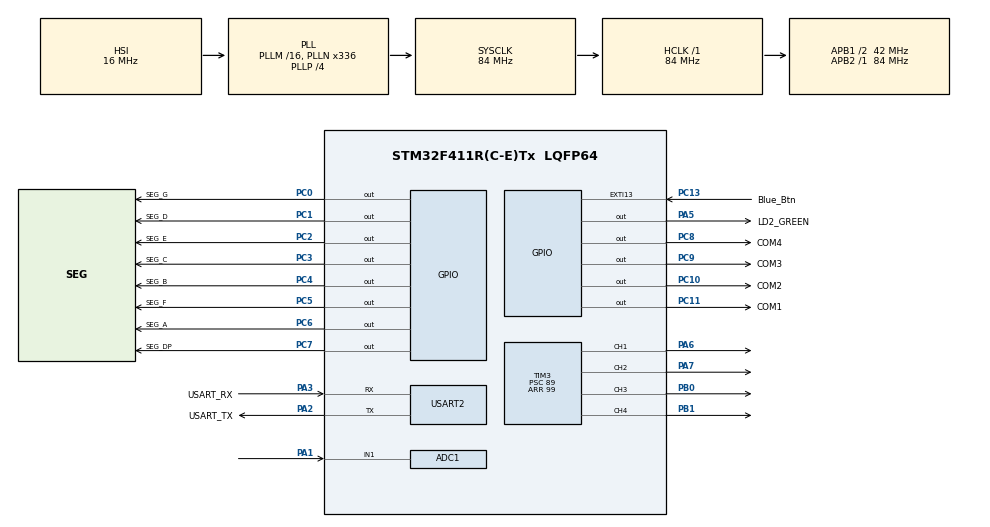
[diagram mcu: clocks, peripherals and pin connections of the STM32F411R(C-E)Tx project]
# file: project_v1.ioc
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ADC1.Channel-3\#ChannelRegularConversion=ADC_CHANNEL_1
ADC1.ContinuousConvMode=ENABLE
ADC1.NbrOfConversionFlag=1
ADC1.Rank-3\#ChannelRegularConversion=1
ADC1.SamplingTime-3\#ChannelRegularConversion=ADC_SAMPLETIME_3CYCLES
ADC1.ScanConvMode=DISABLE
ADC1.master=1
Dma.Request0=USART2_RX
Dma.Request1=USART2_TX
Dma.USART2_RX.0.Direction=DMA_PERIPH_TO_MEMORY
Dma.USART2_RX.0.FIFOMode=DMA_FIFOMODE_DISABLE
Dma.USART2_RX.0.Instance=DMA1_Stream5
Dma.USART2_RX.0.MemDataAlignment=DMA_MDATAALIGN_BYTE
Dma.USART2_RX.0.MemInc=DMA_MINC_ENABLE
Dma.USART2_RX.0.Mode=DMA_NORMAL
Dma.USART2_RX.0.PeriphDataAlignment=DMA_PDATAALIGN_BYTE
Dma.USART2_RX.0.PeriphInc=DMA_PINC_DISABLE
Dma.USART2_RX.0.Priority=DMA_PRIORITY_LOW
Dma.USART2_TX.1.Direction=DMA_MEMORY_TO_PERIPH
Dma.USART2_TX.1.FIFOMode=DMA_FIFOMODE_DISABLE
Dma.USART2_TX.1.Instance=DMA1_Stream6
Dma.USART2_TX.1.MemDataAlignment=DMA_MDATAALIGN_BYTE
Dma.USART2_TX.1.MemInc=DMA_MINC_ENABLE
Dma.USART2_TX.1.Mode=DMA_NORMAL
Dma.USART2_TX.1.PeriphDataAlignment=DMA_PDATAALIGN_BYTE
Dma.USART2_TX.1.PeriphInc=DMA_PINC_DISABLE
Dma.USART2_TX.1.Priority=DMA_PRIORITY_LOW
Mcu.Family=STM32F4
Mcu.Name=STM32F411R(C-E)Tx
Mcu.Package=LQFP64
NVIC.ADC_IRQn=true\:0\:0\:false\:false\:true\:true\:true
NVIC.DMA1_Stream5_IRQn=true\:0\:0\:false\:false\:true\:false\:true
NVIC.DMA1_Stream6_IRQn=true\:0\:0\:false\:false\:true\:false\:true
NVIC.EXTI15_10_IRQn=true\:0\:0\:false\:false\:true\:true\:true
NVIC.PriorityGroup=NVIC_PRIORITYGROUP_0
NVIC.TIM1_BRK_TIM9_IRQn=true\:0\:0\:false\:false\:true\:true\:true
NVIC.USART2_IRQn=true\:0\:0\:false\:false\:true\:true\:true
PA1.Signal=ADCx_IN1
PA13.GPIO_Label=TMS
PA13.Mode=Serial_Wire
PA13.Signal=SYS_JTMS-SWDIO
PA14.GPIO_Label=TCK
PA14.Mode=Serial_Wire
PA14.Signal=SYS_JTCK-SWCLK
PA2.GPIO_Label=USART_TX
PA2.Mode=Asynchronous
PA2.Signal=USART2_TX
PA3.GPIO_Label=USART_RX
PA3.Mode=Asynchronous
PA3.Signal=USART2_RX
PA5.GPIO_Label=LD2_GREEN
PA5.Signal=GPIO_Output
PA6.Signal=S_TIM3_CH1
PA7.Signal=S_TIM3_CH2
PB0.Signal=S_TIM3_CH3
PB1.Signal=S_TIM3_CH4
PB3.GPIO_Label=SWO
PB3.Signal=SYS_JTDO-SWO
PC0.GPIO_Label=SEG_G
PC0.Signal=GPIO_Output
PC1.GPIO_Label=SEG_D
PC1.Signal=GPIO_Output
PC10.GPIO_Label=COM2
PC10.Signal=GPIO_Output
PC11.GPIO_Label=COM1
PC11.Signal=GPIO_Output
PC13-ANTI_TAMP.GPIO_Label=Blue_Btn
PC13-ANTI_TAMP.GPIO_ModeDefaultEXTI=GPIO_MODE_IT_FALLING
PC13-ANTI_TAMP.Signal=GPXTI13
PC14-OSC32_IN.Mode=LSE-External-Oscillator
PC14-OSC32_IN.Signal=RCC_OSC32_IN
PC15-OSC32_OUT.Mode=LSE-External-Oscillator
PC15-OSC32_OUT.Signal=RCC_OSC32_OUT
PC2.GPIO_Label=SEG_E
PC2.Signal=GPIO_Output
PC3.GPIO_Label=SEG_C
PC3.Signal=GPIO_Output
PC4.GPIO_Label=SEG_B
PC4.Signal=GPIO_Output
PC5.GPIO_Label=SEG_F
PC5.Signal=GPIO_Output
PC6.GPIO_Label=SEG_A
PC6.Signal=GPIO_Output
PC7.GPIO_Label=SEG_DP
PC7.Signal=GPIO_Output
PC8.GPIO_Label=COM4
PC8.Signal=GPIO_Output
PC9.GPIO_Label=COM3
PC9.Signal=GPIO_Output
PH0\ -\ OSC_IN.Mode=HSE-External-Clock-Source
PH0\ -\ OSC_IN.Signal=RCC_OSC_IN
PH1\ -\ OSC_OUT.Mode=HSE-External-Clock-Source
PH1\ -\ OSC_OUT.Signal=RCC_OSC_OUT
ProjectManager.HeapSize=0x200
ProjectManager.StackSize=0x400
ProjectManager.TargetToolchain=STM32CubeIDE
RCC.48MHZClocksFreq_Value=84000000
RCC.AHBFreq_Value=84000000
RCC.APB1CLKDivider=RCC_HCLK_DIV2
RCC.APB1Freq_Value=42000000
RCC.APB1TimFreq_Value=84000000
RCC.APB2Freq_Value=84000000
RCC.APB2TimFreq_Value=84000000
RCC.CortexFreq_Value=84000000
RCC.FLatency-AdvancedSettings=FLASH_LATENCY_2
RCC.HCLKFreq_Value=84000000
RCC.HSE_VALUE=8000000
RCC.HSI_VALUE=16000000
RCC.PLLN=336
RCC.PLLP=RCC_PLLP_DIV4
RCC.SYSCLKFreq_VALUE=84000000
RCC.SYSCLKSource=RCC_SYSCLKSOURCE_PLLCLK
RCC.VCOOutputFreq_Value=336000000
SH.ADCx_IN1.0=ADC1_IN1,IN1
SH.S_TIM3_CH1.0=TIM3_CH1,PWM Generation1 CH1
SH.S_TIM3_CH2.0=TIM3_CH2,PWM Generation2 CH2
SH.S_TIM3_CH3.0=TIM3_CH3,PWM Generation3 CH3
SH.S_TIM3_CH4.0=TIM3_CH4,PWM Generation4 CH4
TIM3.Channel-PWM\ Generation1\ CH1=TIM_CHANNEL_1
TIM3.Channel-PWM\ Generation2\ CH2=TIM_CHANNEL_2
TIM3.Channel-PWM\ Generation3\ CH3=TIM_CHANNEL_3
TIM3.Channel-PWM\ Generation4\ CH4=TIM_CHANNEL_4
TIM3.Period=99
TIM3.Prescaler=89
TIM9.Period=99
TIM9.Prescaler=999
USART2.VirtualMode=VM_ASYNC
VP_TIM9_VS_ClockSourceINT.Mode=Internal
board=NUCLEO-F411RE

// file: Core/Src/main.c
/* USER CODE BEGIN Header */
/**
  ******************************************************************************
  * @file           : main.c
  * @brief          : Main program body
  ******************************************************************************
  * @attention
  *
  * <h2><center>&copy; Copyright (c) 2020 STMicroelectronics.
  * All rights reserved.</center></h2>
  *
  * This software component is licensed by ST under BSD 3-Clause license,
  * the "License"; You may not use this file except in compliance with the
  * License. You may obtain a copy of the License at:
  *                        opensource.org/licenses/BSD-3-Clause
  *
  ******************************************************************************
  */
/* USER CODE END Header */

#include "main.h"

/* USER CODE BEGIN Includes */
#include "stm32f4xx_hal.h"

/* USER CODE END Includes */

ADC_HandleTypeDef hadc1;

TIM_HandleTypeDef htim3;
TIM_HandleTypeDef htim9;

UART_HandleTypeDef huart2;
DMA_HandleTypeDef hdma_usart2_rx;
DMA_HandleTypeDef hdma_usart2_tx;

/* USER CODE BEGIN PV */
volatile static int state = 0;
volatile static int display_light_val = 0;

volatile static uint32_t light_val;
//volatile static uint32_t light_prc;
volatile static uint32_t inv_light_prc;

volatile uint16_t digit1;
volatile uint16_t digit2;
volatile uint16_t digit3;
volatile uint16_t digit4;

volatile uint16_t Received_first = 0;
volatile uint16_t Received_second = 0;

volatile uint16_t first_number = 0;
volatile uint16_t second_number = 0;
volatile uint16_t result = 0;

volatile uint8_t cnt_btn = 0;
volatile uint8_t operation = 0;
volatile uint8_t operation_UART;

/* USER CODE END PV */

void SystemClock_Config(void);
static void MX_GPIO_Init(void);
static void MX_DMA_Init(void);
static void MX_USART2_UART_Init(void);
static void MX_ADC1_Init(void);
static void MX_TIM9_Init(void);
static void MX_TIM3_Init(void);
/* USER CODE BEGIN PFP */

void dec_to_7seg(uint8_t number) //transforming digits to appropriate display led pins
{
	switch (number)
	{
		case 0:
			HAL_GPIO_WritePin(SEG_A_GPIO_Port, SEG_A_Pin, GPIO_PIN_SET);
			HAL_GPIO_WritePin(SEG_B_GPIO_Port, SEG_B_Pin, GPIO_PIN_SET);
			HAL_GPIO_WritePin(SEG_C_GPIO_Port, SEG_C_Pin, GPIO_PIN_SET);
			HAL_GPIO_WritePin(SEG_D_GPIO_Port, SEG_D_Pin, GPIO_PIN_SET);
			HAL_GPIO_WritePin(SEG_E_GPIO_Port, SEG_E_Pin, GPIO_PIN_SET);
			HAL_GPIO_WritePin(SEG_F_GPIO_Port, SEG_F_Pin, GPIO_PIN_SET);
			HAL_GPIO_WritePin(SEG_G_GPIO_Port, SEG_G_Pin, GPIO_PIN_RESET);
			break;
		case 1:
			HAL_GPIO_WritePin(SEG_A_GPIO_Port, SEG_A_Pin, GPIO_PIN_RESET);
			HAL_GPIO_WritePin(SEG_B_GPIO_Port, SEG_B_Pin, GPIO_PIN_SET);
			HAL_GPIO_WritePin(SEG_C_GPIO_Port, SEG_C_Pin, GPIO_PIN_SET);
			HAL_GPIO_WritePin(SEG_D_GPIO_Port, SEG_D_Pin, GPIO_PIN_RESET);
			HAL_GPIO_WritePin(SEG_E_GPIO_Port, SEG_E_Pin, GPIO_PIN_RESET);
			HAL_GPIO_WritePin(SEG_F_GPIO_Port, SEG_F_Pin, GPIO_PIN_RESET);
			HAL_GPIO_WritePin(SEG_G_GPIO_Port, SEG_G_Pin, GPIO_PIN_RESET);
			break;
		case 2:
			HAL_GPIO_WritePin(SEG_A_GPIO_Port, SEG_A_Pin, GPIO_PIN_SET);
			HAL_GPIO_WritePin(SEG_B_GPIO_Port, SEG_B_Pin, GPIO_PIN_SET);
			HAL_GPIO_WritePin(SEG_C_GPIO_Port, SEG_C_Pin, GPIO_PIN_RESET);
			HAL_GPIO_WritePin(SEG_D_GPIO_Port, SEG_D_Pin, GPIO_PIN_SET);
			HAL_GPIO_WritePin(SEG_E_GPIO_Port, SEG_E_Pin, GPIO_PIN_SET);
			HAL_GPIO_WritePin(SEG_F_GPIO_Port, SEG_F_Pin, GPIO_PIN_RESET);
			HAL_GPIO_WritePin(SEG_G_GPIO_Port, SEG_G_Pin, GPIO_PIN_SET);
			break;
		case 3:
			HAL_GPIO_WritePin(SEG_A_GPIO_Port, SEG_A_Pin, GPIO_PIN_SET);
			HAL_GPIO_WritePin(SEG_B_GPIO_Port, SEG_B_Pin, GPIO_PIN_SET);
			HAL_GPIO_WritePin(SEG_C_GPIO_Port, SEG_C_Pin, GPIO_PIN_SET);
			HAL_GPIO_WritePin(SEG_D_GPIO_Port, SEG_D_Pin, GPIO_PIN_SET);
			HAL_GPIO_WritePin(SEG_E_GPIO_Port, SEG_E_Pin, GPIO_PIN_RESET);
			HAL_GPIO_WritePin(SEG_F_GPIO_Port, SEG_F_Pin, GPIO_PIN_RESET);
			HAL_GPIO_WritePin(SEG_G_GPIO_Port, SEG_G_Pin, GPIO_PIN_SET);
			break;
		case 4:
			HAL_GPIO_WritePin(SEG_A_GPIO_Port, SEG_A_Pin, GPIO_PIN_RESET);
			HAL_GPIO_WritePin(SEG_B_GPIO_Port, SEG_B_Pin, GPIO_PIN_SET);
			HAL_GPIO_WritePin(SEG_C_GPIO_Port, SEG_C_Pin, GPIO_PIN_SET);
			HAL_GPIO_WritePin(SEG_D_GPIO_Port, SEG_D_Pin, GPIO_PIN_RESET);
			HAL_GPIO_WritePin(SEG_E_GPIO_Port, SEG_E_Pin, GPIO_PIN_RESET);
			HAL_GPIO_WritePin(SEG_F_GPIO_Port, SEG_F_Pin, GPIO_PIN_SET);
			HAL_GPIO_WritePin(SEG_G_GPIO_Port, SEG_G_Pin, GPIO_PIN_SET);
			break;
		case 5:
			HAL_GPIO_WritePin(SEG_A_GPIO_Port, SEG_A_Pin, GPIO_PIN_SET);
			HAL_GPIO_WritePin(SEG_B_GPIO_Port, SEG_B_Pin, GPIO_PIN_RESET);
			HAL_GPIO_WritePin(SEG_C_GPIO_Port, SEG_C_Pin, GPIO_PIN_SET);
			HAL_GPIO_WritePin(SEG_D_GPIO_Port, SEG_D_Pin, GPIO_PIN_SET);
			HAL_GPIO_WritePin(SEG_E_GPIO_Port, SEG_E_Pin, GPIO_PIN_RESET);
			HAL_GPIO_WritePin(SEG_F_GPIO_Port, SEG_F_Pin, GPIO_PIN_SET);
			HAL_GPIO_WritePin(SEG_G_GPIO_Port, SEG_G_Pin, GPIO_PIN_SET);
			break;
		case 6:
			HAL_GPIO_WritePin(SEG_A_GPIO_Port, SEG_A_Pin, GPIO_PIN_SET);
			HAL_GPIO_WritePin(SEG_B_GPIO_Port, SEG_B_Pin, GPIO_PIN_RESET);
			HAL_GPIO_WritePin(SEG_C_GPIO_Port, SEG_C_Pin, GPIO_PIN_SET);
			HAL_GPIO_WritePin(SEG_D_GPIO_Port, SEG_D_Pin, GPIO_PIN_SET);
			HAL_GPIO_WritePin(SEG_E_GPIO_Port, SEG_E_Pin, GPIO_PIN_SET);
			HAL_GPIO_WritePin(SEG_F_GPIO_Port, SEG_F_Pin, GPIO_PIN_SET);
			HAL_GPIO_WritePin(SEG_G_GPIO_Port, SEG_G_Pin, GPIO_PIN_SET);
			break;
		case 7:
			HAL_GPIO_WritePin(SEG_A_GPIO_Port, SEG_A_Pin, GPIO_PIN_SET);
			HAL_GPIO_WritePin(SEG_B_GPIO_Port, SEG_B_Pin, GPIO_PIN_SET);
			HAL_GPIO_WritePin(SEG_C_GPIO_Port, SEG_C_Pin, GPIO_PIN_SET);
			HAL_GPIO_WritePin(SEG_D_GPIO_Port, SEG_D_Pin, GPIO_PIN_RESET);
			HAL_GPIO_WritePin(SEG_E_GPIO_Port, SEG_E_Pin, GPIO_PIN_RESET);
			HAL_GPIO_WritePin(SEG_F_GPIO_Port, SEG_F_Pin, GPIO_PIN_RESET);
			HAL_GPIO_WritePin(SEG_G_GPIO_Port, SEG_G_Pin, GPIO_PIN_RESET);
			break;
		case 8:
			HAL_GPIO_WritePin(SEG_A_GPIO_Port, SEG_A_Pin, GPIO_PIN_SET);
			HAL_GPIO_WritePin(SEG_B_GPIO_Port, SEG_B_Pin, GPIO_PIN_SET);
			HAL_GPIO_WritePin(SEG_C_GPIO_Port, SEG_C_Pin, GPIO_PIN_SET);
			HAL_GPIO_WritePin(SEG_D_GPIO_Port, SEG_D_Pin, GPIO_PIN_SET);
			HAL_GPIO_WritePin(SEG_E_GPIO_Port, SEG_E_Pin, GPIO_PIN_SET);
			HAL_GPIO_WritePin(SEG_F_GPIO_Port, SEG_F_Pin, GPIO_PIN_SET);
			HAL_GPIO_WritePin(SEG_G_GPIO_Port, SEG_G_Pin, GPIO_PIN_SET);
			break;
		case 9:
			HAL_GPIO_WritePin(SEG_A_GPIO_Port, SEG_A_Pin, GPIO_PIN_SET);
			HAL_GPIO_WritePin(SEG_B_GPIO_Port, SEG_B_Pin, GPIO_PIN_SET);
			HAL_GPIO_WritePin(SEG_C_GPIO_Port, SEG_C_Pin, GPIO_PIN_SET);
			HAL_GPIO_WritePin(SEG_D_GPIO_Port, SEG_D_Pin, GPIO_PIN_SET);
			HAL_GPIO_WritePin(SEG_E_GPIO_Port, SEG_E_Pin, GPIO_PIN_RESET);
			HAL_GPIO_WritePin(SEG_F_GPIO_Port, SEG_F_Pin, GPIO_PIN_SET);
			HAL_GPIO_WritePin(SEG_G_GPIO_Port, SEG_G_Pin, GPIO_PIN_SET);
			break;
	}
}

void HAL_ADC_ConvCpltCallback(ADC_HandleTypeDef* hadc) { //interrupts from adc - light sensor
	light_val = HAL_ADC_GetValue(&hadc1); //saving value from adc
}

void number_to_digits(uint32_t number) { //dividing number to digits and storing them in new variables
	uint16_t temp1, temp2, temp3, temp4;

	temp1=number/1000;
	if(temp1) digit1=temp1; else digit1=0;
	temp2=(number-(temp1*1000))/100;
	if(temp2) digit2=temp2; else digit2=(number>999)?0:0;
	temp3=(number-(temp1*1000)-(temp2*100))/10;
	if(temp3) digit3=temp3; else digit3=(number>99)?0:0;
	temp4=(number-(temp1*1000)-(temp2*100)-(temp3*10));
	digit4=temp4;
}

void pwm_disp_select(uint8_t display) //pwm display select with duty cycle depending on light sensor
{
	switch (display)
	{
		case 1:
			htim3.Instance->CCR1 = inv_light_prc;
			htim3.Instance->CCR2 = 100;
			htim3.Instance->CCR3 = 100;
			htim3.Instance->CCR4 = 100;
			break;
		case 2:
			htim3.Instance->CCR1 = 100;
			htim3.Instance->CCR2 = inv_light_prc;
			htim3.Instance->CCR3 = 100;
			htim3.Instance->CCR4 = 100;
			break;
		case 3:
			htim3.Instance->CCR1 = 100;
			htim3.Instance->CCR2 = 100;
			htim3.Instance->CCR3 = inv_light_prc;
			htim3.Instance->CCR4 = 100;
			break;
		case 4:
			htim3.Instance->CCR1 = 100;
			htim3.Instance->CCR2 = 100;
			htim3.Instance->CCR3 = 100;
			htim3.Instance->CCR4 = inv_light_prc;
			break;
	}
}

void pwm_display_multiplekser() { //multiplexer for displaying digits with use of pwm display choose
	static uint8_t display = 1;
		switch (display) {
			case 1:
				pwm_disp_select(1);
				dec_to_7seg(digit1);
				break;
			case 2:
				pwm_disp_select(2);
				dec_to_7seg(digit2);
				break;
			case 3:
				pwm_disp_select(3);
				dec_to_7seg(digit3);
				break;
			case 4:
				pwm_disp_select(4);
				dec_to_7seg(digit4);
				break;
			default:
				break;
		}
		display++;
		if(display==5) display = 1;
}

void HAL_TIM_PeriodElapsedCallback(TIM_HandleTypeDef *htim){ //interrupts from timer
	if(htim->Instance == TIM9){ //from timer 9
		pwm_display_multiplekser(); //displaying digits with multiplexer and pwm
		inv_light_val_to_prc(light_val); //light value to percents used in duty cycle in pwm
	}
}
/*
void light_val_to_prc(uint32_t value) { //can be used to display brightness in percents
	light_prc=100-(value*100/3850);
}
*/
void inv_light_val_to_prc(uint32_t value) {
	inv_light_prc=value*100/3850; //3850 because I couldn't find range of light sensor and this value seams to be quite good estimate
}

void HAL_UART_RxCpltCallback(UART_HandleTypeDef *huart) {

	 static uint8_t Data[15];

	if (Received_first > 0) {
		first_number = Received_first; //saving to new variable
		Received_first = 0; //reset of variable used in listening UART
		cnt_btn = 0; //reset of counter used to choose operation type so after receiving first number we are certain that there is nothing in this counter
		HAL_UART_Receive_DMA(&huart2, &Received_second, 1); // Listening with second variable with use of DMA
	}
	if (Received_second > 0) {
		second_number = Received_second;
		Received_second = 0;
		HAL_UART_Receive_DMA(&huart2, &Received_first, 1); // Listening with first variable again with use of DMA
		calculate();

		sprintf(Data, "\n%d %c %d = %d\n", first_number, operation_UART, second_number, result); //constructing message to send via UART
		HAL_UART_Transmit_DMA(&huart2, Data, 15); // sending message via UART

	}
	HAL_GPIO_TogglePin(LD2_GREEN_GPIO_Port, LD2_GREEN_Pin); //led to observe if interrupt happened
}

void calculate() { //calculating result
	switch (operation) {
		case 1:
			result = first_number + second_number;
			operation = 0;
			operation_UART = '+';
			break;
		case 2:
			result = first_number - second_number;
			operation = 0;
			operation_UART = '-';
			break;
		case 3:
			result = first_number * second_number;
			operation = 0;
			operation_UART = '*';
			break;
		case 4:
			result = first_number / second_number;
			operation = 0;
			operation_UART = '/';
			break;
		default:
			result = 9999;
			break;
	}
}

void HAL_GPIO_EXTI_Callback(uint16_t GPIO_Pin){ //interrupt from button and choose of operation type
	if(GPIO_Pin == Blue_Btn_Pin){
		cnt_btn++;
		switch (cnt_btn) {
			case 1:
				operation = 1;
				break;
			case 2:
				operation = 2;
				break;
			case 3:
				operation = 3;
				break;
			case 4:
				operation = 4;
				break;
			default:
				operation = 0;
				break;
		}
		HAL_GPIO_TogglePin(LD2_GREEN_GPIO_Port, LD2_GREEN_Pin); //led to observe interrupts from button
	}
}

/* USER CODE END PFP */

int main(void)
{

  /* MCU Configuration--------------------------------------------------------*/

  /* Reset of all peripherals, Initializes the Flash interface and the Systick. */
  HAL_Init();

  /* Configure the system clock */
  SystemClock_Config();

  /* Initialize all configured peripherals */
  MX_GPIO_Init();
  MX_DMA_Init();
  MX_USART2_UART_Init();
  MX_ADC1_Init();
  MX_TIM9_Init();
  MX_TIM3_Init();
  /* USER CODE BEGIN 2 */

  HAL_TIM_Base_Start_IT(&htim9);
  HAL_UART_Receive_DMA(&huart2, &Received_first, 1); //UART with DMA

  HAL_TIM_PWM_Start(&htim3, TIM_CHANNEL_1);
  HAL_TIM_PWM_Start(&htim3, TIM_CHANNEL_2);
  HAL_TIM_PWM_Start(&htim3, TIM_CHANNEL_3);
  HAL_TIM_PWM_Start(&htim3, TIM_CHANNEL_4);
  /* USER CODE END 2 */

  /* Infinite loop */
  while (1)
  {

    /* USER CODE BEGIN 3 */

	  HAL_ADC_Start_IT(&hadc1); // start interrupts from light sensor
	  number_to_digits(result); //division of number to digits for multiplexing

	  //number_to_digits(light_prc);

  }
  /* USER CODE END 3 */
}

void SystemClock_Config(void)
{
  RCC_OscInitTypeDef RCC_OscInitStruct = {0};
  RCC_ClkInitTypeDef RCC_ClkInitStruct = {0};

  /** Configure the main internal regulator output voltage
  */
  __HAL_RCC_PWR_CLK_ENABLE();
  __HAL_PWR_VOLTAGESCALING_CONFIG(PWR_REGULATOR_VOLTAGE_SCALE1);
  /** Initializes the CPU, AHB and APB busses clocks
  */
  RCC_OscInitStruct.OscillatorType = RCC_OSCILLATORTYPE_HSI;
  RCC_OscInitStruct.HSIState = RCC_HSI_ON;
  RCC_OscInitStruct.HSICalibrationValue = RCC_HSICALIBRATION_DEFAULT;
  RCC_OscInitStruct.PLL.PLLState = RCC_PLL_ON;
  RCC_OscInitStruct.PLL.PLLSource = RCC_PLLSOURCE_HSI;
  RCC_OscInitStruct.PLL.PLLM = 16;
  RCC_OscInitStruct.PLL.PLLN = 336;
  RCC_OscInitStruct.PLL.PLLP = RCC_PLLP_DIV4;
  RCC_OscInitStruct.PLL.PLLQ = 4;
  if (HAL_RCC_OscConfig(&RCC_OscInitStruct) != HAL_OK)
  {
    Error_Handler();
  }
  /** Initializes the CPU, AHB and APB busses clocks
  */
  RCC_ClkInitStruct.ClockType = RCC_CLOCKTYPE_HCLK|RCC_CLOCKTYPE_SYSCLK
                              |RCC_CLOCKTYPE_PCLK1|RCC_CLOCKTYPE_PCLK2;
  RCC_ClkInitStruct.SYSCLKSource = RCC_SYSCLKSOURCE_PLLCLK;
  RCC_ClkInitStruct.AHBCLKDivider = RCC_SYSCLK_DIV1;
  RCC_ClkInitStruct.APB1CLKDivider = RCC_HCLK_DIV2;
  RCC_ClkInitStruct.APB2CLKDivider = RCC_HCLK_DIV1;

  if (HAL_RCC_ClockConfig(&RCC_ClkInitStruct, FLASH_LATENCY_2) != HAL_OK)
  {
    Error_Handler();
  }
}

static void MX_ADC1_Init(void)
{

  ADC_ChannelConfTypeDef sConfig = {0};

  /** Configure the global features of the ADC (Clock, Resolution, Data Alignment and number of conversion)
  */
  hadc1.Instance = ADC1;
  hadc1.Init.ClockPrescaler = ADC_CLOCK_SYNC_PCLK_DIV4;
  hadc1.Init.Resolution = ADC_RESOLUTION_12B;
  hadc1.Init.ScanConvMode = DISABLE;
  hadc1.Init.ContinuousConvMode = ENABLE;
  hadc1.Init.DiscontinuousConvMode = DISABLE;
  hadc1.Init.ExternalTrigConvEdge = ADC_EXTERNALTRIGCONVEDGE_NONE;
  hadc1.Init.ExternalTrigConv = ADC_SOFTWARE_START;
  hadc1.Init.DataAlign = ADC_DATAALIGN_RIGHT;
  hadc1.Init.NbrOfConversion = 1;
  hadc1.Init.DMAContinuousRequests = DISABLE;
  hadc1.Init.EOCSelection = ADC_EOC_SINGLE_CONV;
  if (HAL_ADC_Init(&hadc1) != HAL_OK)
  {
    Error_Handler();
  }
  /** Configure for the selected ADC regular channel its corresponding rank in the sequencer and its sample time.
  */
  sConfig.Channel = ADC_CHANNEL_1;
  sConfig.Rank = 1;
  sConfig.SamplingTime = ADC_SAMPLETIME_3CYCLES;
  if (HAL_ADC_ConfigChannel(&hadc1, &sConfig) != HAL_OK)
  {
    Error_Handler();
  }

}

static void MX_TIM3_Init(void)
{

  TIM_MasterConfigTypeDef sMasterConfig = {0};
  TIM_OC_InitTypeDef sConfigOC = {0};

  htim3.Instance = TIM3;
  htim3.Init.Prescaler = 89;
  htim3.Init.CounterMode = TIM_COUNTERMODE_UP;
  htim3.Init.Period = 99;
  htim3.Init.ClockDivision = TIM_CLOCKDIVISION_DIV1;
  htim3.Init.AutoReloadPreload = TIM_AUTORELOAD_PRELOAD_DISABLE;
  if (HAL_TIM_PWM_Init(&htim3) != HAL_OK)
  {
    Error_Handler();
  }
  sMasterConfig.MasterOutputTrigger = TIM_TRGO_RESET;
  sMasterConfig.MasterSlaveMode = TIM_MASTERSLAVEMODE_DISABLE;
  if (HAL_TIMEx_MasterConfigSynchronization(&htim3, &sMasterConfig) != HAL_OK)
  {
    Error_Handler();
  }
  sConfigOC.OCMode = TIM_OCMODE_PWM1;
  sConfigOC.Pulse = 0;
  sConfigOC.OCPolarity = TIM_OCPOLARITY_HIGH;
  sConfigOC.OCFastMode = TIM_OCFAST_DISABLE;
  if (HAL_TIM_PWM_ConfigChannel(&htim3, &sConfigOC, TIM_CHANNEL_1) != HAL_OK)
  {
    Error_Handler();
  }
  if (HAL_TIM_PWM_ConfigChannel(&htim3, &sConfigOC, TIM_CHANNEL_2) != HAL_OK)
  {
    Error_Handler();
  }
  if (HAL_TIM_PWM_ConfigChannel(&htim3, &sConfigOC, TIM_CHANNEL_3) != HAL_OK)
  {
    Error_Handler();
  }
  if (HAL_TIM_PWM_ConfigChannel(&htim3, &sConfigOC, TIM_CHANNEL_4) != HAL_OK)
  {
    Error_Handler();
  }
  HAL_TIM_MspPostInit(&htim3);

}

static void MX_TIM9_Init(void)
{

  TIM_ClockConfigTypeDef sClockSourceConfig = {0};

  htim9.Instance = TIM9;
  htim9.Init.Prescaler = 999;
  htim9.Init.CounterMode = TIM_COUNTERMODE_UP;
  htim9.Init.Period = 99;
  htim9.Init.ClockDivision = TIM_CLOCKDIVISION_DIV1;
  htim9.Init.AutoReloadPreload = TIM_AUTORELOAD_PRELOAD_DISABLE;
  if (HAL_TIM_Base_Init(&htim9) != HAL_OK)
  {
    Error_Handler();
  }
  sClockSourceConfig.ClockSource = TIM_CLOCKSOURCE_INTERNAL;
  if (HAL_TIM_ConfigClockSource(&htim9, &sClockSourceConfig) != HAL_OK)
  {
    Error_Handler();
  }

}

static void MX_USART2_UART_Init(void)
{

  huart2.Instance = USART2;
  huart2.Init.BaudRate = 115200;
  huart2.Init.WordLength = UART_WORDLENGTH_8B;
  huart2.Init.StopBits = UART_STOPBITS_1;
  huart2.Init.Parity = UART_PARITY_NONE;
  huart2.Init.Mode = UART_MODE_TX_RX;
  huart2.Init.HwFlowCtl = UART_HWCONTROL_NONE;
  huart2.Init.OverSampling = UART_OVERSAMPLING_16;
  if (HAL_UART_Init(&huart2) != HAL_OK)
  {
    Error_Handler();
  }

}

static void MX_DMA_Init(void)
{

  /* DMA controller clock enable */
  __HAL_RCC_DMA1_CLK_ENABLE();

  /* DMA interrupt init */
  /* DMA1_Stream5_IRQn interrupt configuration */
  HAL_NVIC_SetPriority(DMA1_Stream5_IRQn, 0, 0);
  HAL_NVIC_EnableIRQ(DMA1_Stream5_IRQn);
  /* DMA1_Stream6_IRQn interrupt configuration */
  HAL_NVIC_SetPriority(DMA1_Stream6_IRQn, 0, 0);
  HAL_NVIC_EnableIRQ(DMA1_Stream6_IRQn);

}

static void MX_GPIO_Init(void)
{
  GPIO_InitTypeDef GPIO_InitStruct = {0};

  /* GPIO Ports Clock Enable */
  __HAL_RCC_GPIOC_CLK_ENABLE();
  __HAL_RCC_GPIOH_CLK_ENABLE();
  __HAL_RCC_GPIOA_CLK_ENABLE();
  __HAL_RCC_GPIOB_CLK_ENABLE();

  /*Configure GPIO pin Output Level */
  HAL_GPIO_WritePin(GPIOC, SEG_G_Pin|SEG_D_Pin|SEG_E_Pin|SEG_C_Pin
                          |SEG_B_Pin|SEG_F_Pin|SEG_A_Pin|SEG_DP_Pin
                          |COM4_Pin|COM3_Pin|COM2_Pin|COM1_Pin, GPIO_PIN_RESET);

  /*Configure GPIO pin Output Level */
  HAL_GPIO_WritePin(LD2_GREEN_GPIO_Port, LD2_GREEN_Pin, GPIO_PIN_RESET);

  /*Configure GPIO pin : Blue_Btn_Pin */
  GPIO_InitStruct.Pin = Blue_Btn_Pin;
  GPIO_InitStruct.Mode = GPIO_MODE_IT_FALLING;
  GPIO_InitStruct.Pull = GPIO_NOPULL;
  HAL_GPIO_Init(Blue_Btn_GPIO_Port, &GPIO_InitStruct);

  /*Configure GPIO pins : SEG_G_Pin SEG_D_Pin SEG_E_Pin SEG_C_Pin
                           SEG_B_Pin SEG_F_Pin SEG_A_Pin SEG_DP_Pin
                           COM4_Pin COM3_Pin COM2_Pin COM1_Pin */
  GPIO_InitStruct.Pin = SEG_G_Pin|SEG_D_Pin|SEG_E_Pin|SEG_C_Pin
                          |SEG_B_Pin|SEG_F_Pin|SEG_A_Pin|SEG_DP_Pin
                          |COM4_Pin|COM3_Pin|COM2_Pin|COM1_Pin;
  GPIO_InitStruct.Mode = GPIO_MODE_OUTPUT_PP;
  GPIO_InitStruct.Pull = GPIO_NOPULL;
  GPIO_InitStruct.Speed = GPIO_SPEED_FREQ_LOW;
  HAL_GPIO_Init(GPIOC, &GPIO_InitStruct);

  /*Configure GPIO pin : LD2_GREEN_Pin */
  GPIO_InitStruct.Pin = LD2_GREEN_Pin;
  GPIO_InitStruct.Mode = GPIO_MODE_OUTPUT_PP;
  GPIO_InitStruct.Pull = GPIO_NOPULL;
  GPIO_InitStruct.Speed = GPIO_SPEED_FREQ_LOW;
  HAL_GPIO_Init(LD2_GREEN_GPIO_Port, &GPIO_InitStruct);

  /* EXTI interrupt init*/
  HAL_NVIC_SetPriority(EXTI15_10_IRQn, 0, 0);
  HAL_NVIC_EnableIRQ(EXTI15_10_IRQn);

}

void Error_Handler(void)
{
}

/************************ (C) COPYRIGHT STMicroelectronics *****END OF FILE****/
